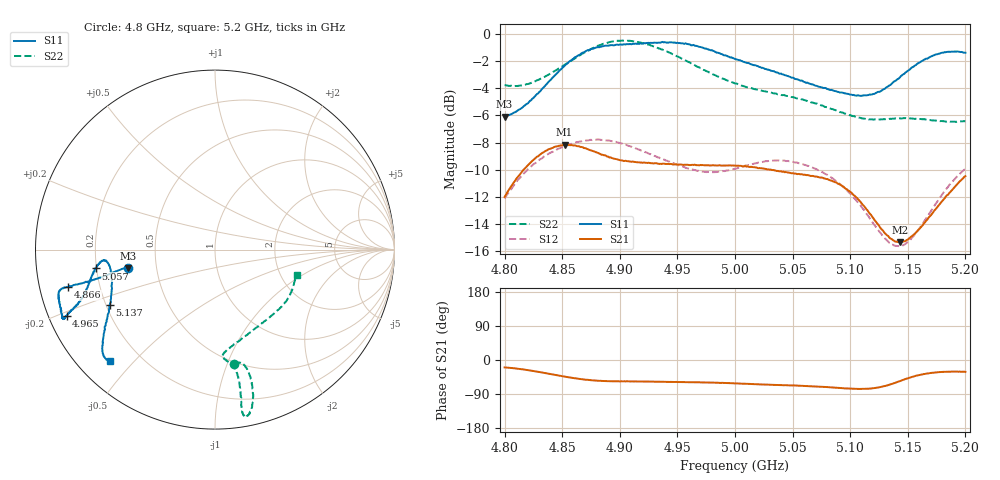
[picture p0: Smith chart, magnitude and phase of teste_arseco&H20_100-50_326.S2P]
! Network Analyzer HP8722D
! Hewlett-Packard
! Data name: Linha & Wilkinson
! Saver's name: Rodrigo Anjos
! Comments: Teste da utilização de aquisição
! continua pelo VNA HP8722D
! Time and date: 6/5/2025 15:17
!  Frequency  S11  S21  S12  S22
# HZ  S  MA R 50
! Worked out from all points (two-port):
!   401 points, 4.8 GHz to 5.2 GHz, reference 50 ohm
!   highest |S21| = -8.16 dB at 4.852 GHz (marker M1); lowest = -15.3 dB at 5.143 GHz (marker M2)
!   |S21| within 3 dB of the highest: 4.806 GHz to 5.093 GHz (286.4 MHz wide, 5.79 % of centre); 5.191844 GHz to end of sweep
!   lowest |S11| = -6.1 dB at 4.8 GHz (marker M3), VSWR 2.97, Z = 17 - j4.61 ohm
!   |S11| at or under -10 dB: nowhere
!   |S22| runs from -6.5 to -0.5 dB; largest |S21 - S12| = 0.62
!   S11 on the Smith chart (normalised r, x): 4.8 GHz: 0.34, -0.09; 4.866 GHz: 0.09, -0.12; 4.965 GHz: 0.05, -0.21; 5.057 GHz: 0.20, -0.08; 5.137 GHz: 0.22, -0.24; 5.2 GHz: 0.09, -0.43
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4.8e9  0.4961 -168.1  0.2516 -19.6  0.2484 -140.8  0.6483 -80.4
4.823e9  0.5699 -167.5  0.3377 -28.0  0.3257 -143.8  0.6604 -75.9
4.852e9  0.7632 -165.8  0.3909 -43.8  0.3869 -149.3  0.7688 -74.5
4.866e9  0.8429 -165.7  0.384 -50.4  0.4023 -151.8  0.8373 -75.2
4.867e9  0.8497 -165.8  0.3838 -50.8  0.4028 -151.9  0.8437 -75.4
4.899e9  0.9102 -162.8  0.3445 -56.4  0.3981 -156.7  0.943 -79.0
4.916e9  0.9191 -159.2  0.337 -56.7  0.3759 -156.9  0.9323 -80.4
4.934e9  0.9286 -156.4  0.3325 -57.4  0.3514 -155.7  0.8832 -80.5
4.965e9  0.9046 -156.1  0.3305 -58.8  0.3155 -148.6  0.7668 -79.7
5e9  0.8088 -158.9  0.3276 -61.8  0.3197 -137.2  0.6573 -81.2
5.032e9  0.7307 -164.5  0.316 -65.4  0.3416 -134.2  0.6072 -85.3
5.057e9  0.6726 -171.0  0.3045 -67.8  0.333 -135.9  0.5761 -84.7
5.067e9  0.6518 -173.1  0.3006 -69.1  0.3228 -136.7  0.5594 -82.6
5.085e9  0.6194 -174.3  0.287 -72.5  0.2938 -138.3  0.529 -75.8
5.101e9  0.5981 -172.0  0.2609 -75.6  0.2556 -138.7  0.5008 -66.6
5.117e9  0.5988 -164.9  0.2183 -75.6  0.2097 -135.1  0.4854 -55.1
5.134e9  0.6463 -154.2  0.1782 -65.2  0.1705 -120.8  0.4869 -43.2
5.137e9  0.6618 -152.4  0.1747 -62.3  0.1679 -116.8  0.4878 -41.4
5.143e9  0.6911 -149.2  0.1712 -55.9  0.166 -109.0  0.4893 -38.0
5.154e9  0.7549 -144.5  0.1811 -44.5  0.1791 -95.1  0.4883 -32.4
5.174e9  0.8397 -138.4  0.2262 -32.9  0.2365 -80.3  0.4801 -23.9
5.2e9  0.8522 -133.5  0.2998 -31.3  0.3185 -76.9  0.4767 -17.6
